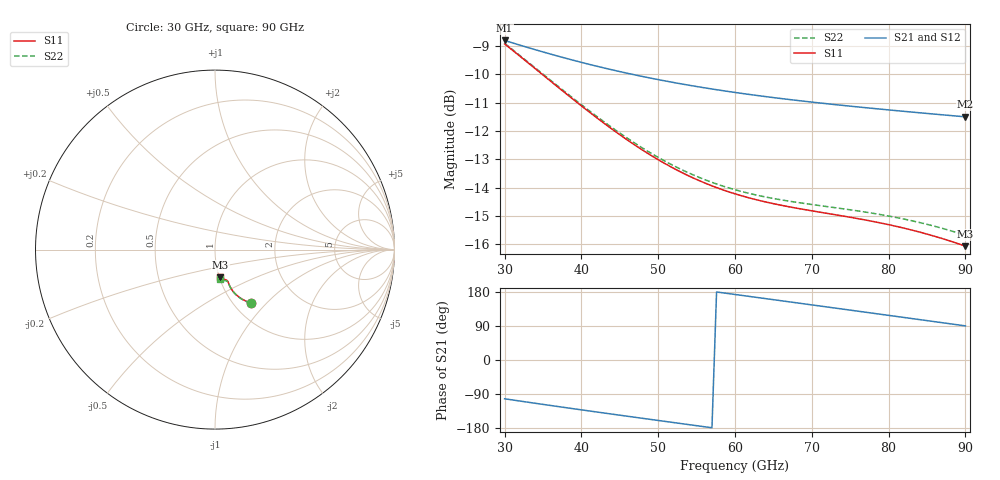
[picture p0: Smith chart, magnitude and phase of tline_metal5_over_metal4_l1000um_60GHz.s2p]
#  GHZ S DB R 50
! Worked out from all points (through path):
!   101 points, 30 GHz to 90 GHz, reference 50 ohm
!   highest |S21| = -8.81 dB at 30 GHz (marker M1); lowest = -11.5 dB at 90 GHz (marker M2)
!   group delay of S21, straight-line fit = 7.71 ps
!   lowest |S11| = -16.1 dB at 90 GHz (marker M3), VSWR 1.37, Z = 50.6 - j16 ohm
!   |S11| at or under -10 dB: 34.88 GHz to end of sweep
!   |S22| runs from -15.7 to -8.9 dB; largest |S21 - S12| = 5e-13
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30  -8.93 -56.1  -8.81 -102.3  -8.81 -102.3  -8.91 -56.2
33  -9.59 -59.3  -9.06 -111.3  -9.06 -111.3  -9.56 -59.5
35.4  -10.12 -61.5  -9.25 -118.3  -9.25 -118.3  -10.09 -61.7
37.8  -10.64 -63.4  -9.43 -125.3  -9.43 -125.3  -10.61 -63.5
40.2  -11.16 -64.9  -9.60 -132.1  -9.60 -132.1  -11.12 -65.0
42.6  -11.66 -66.0  -9.76 -138.9  -9.76 -138.9  -11.61 -66.2
45  -12.13 -66.9  -9.91 -145.6  -9.91 -145.6  -12.07 -67.0
47.4  -12.58 -67.5  -10.05 -152.3  -10.05 -152.3  -12.51 -67.6
50.4  -13.08 -67.8  -10.21 -160.6  -10.21 -160.6  -12.99 -68.0
52.8  -13.43 -68.0  -10.33 -167.3  -10.33 -167.3  -13.33 -68.1
55.2  -13.74 -68.0  -10.44 -173.9  -10.44 -173.9  -13.62 -68.2
57.6  -14.00 -68.0  -10.55 179.5  -10.55 179.5  -13.87 -68.2
60  -14.22 -68.0  -10.64 172.9  -10.64 172.9  -14.07 -68.3
64.8  -14.55 -68.3  -10.82 159.7  -10.82 159.7  -14.37 -68.7
67.2  -14.68 -68.7  -10.90 153.1  -10.90 153.1  -14.48 -69.2
70.2  -14.83 -69.4  -10.99 144.9  -10.99 144.9  -14.60 -70.0
75.6  -15.07 -71.4  -11.14 130.0  -11.14 130.0  -14.80 -72.2
80.4  -15.33 -73.7  -11.27 116.7  -11.27 116.7  -15.02 -74.8
82.8  -15.48 -75.0  -11.33 110.0  -11.33 110.0  -15.15 -76.2
85.2  -15.65 -76.3  -11.39 103.4  -11.39 103.4  -15.31 -77.7
87.6  -15.85 -77.7  -11.45 96.7  -11.45 96.7  -15.48 -79.3
90  -16.06 -79.0  -11.50 90.0  -11.50 90.0  -15.68 -80.8
